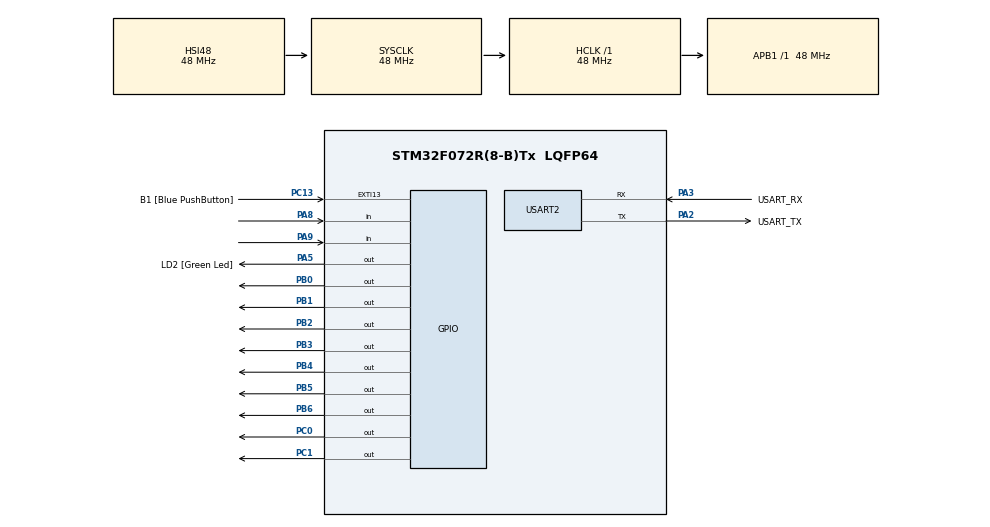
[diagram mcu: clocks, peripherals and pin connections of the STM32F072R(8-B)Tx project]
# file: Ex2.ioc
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Mcu.Family=STM32F0
Mcu.Name=STM32F072R(8-B)Tx
Mcu.Package=LQFP64
PA13.GPIO_Label=TMS
PA13.Mode=Serial_Wire
PA13.Signal=SYS_SWDIO
PA14.GPIO_Label=TCK
PA14.Mode=Serial_Wire
PA14.Signal=SYS_SWCLK
PA2.GPIO_Label=USART_TX
PA2.GPIO_Mode=GPIO_MODE_AF_PP
PA2.GPIO_PuPd=GPIO_NOPULL
PA2.GPIO_Speed=GPIO_SPEED_FREQ_LOW
PA2.Mode=Asynchronous
PA2.Signal=USART2_TX
PA3.GPIO_Label=USART_RX
PA3.GPIO_Mode=GPIO_MODE_AF_PP
PA3.GPIO_PuPd=GPIO_NOPULL
PA3.GPIO_Speed=GPIO_SPEED_FREQ_LOW
PA3.Mode=Asynchronous
PA3.Signal=USART2_RX
PA5.GPIO_Label=LD2 [Green Led]
PA5.GPIO_Mode=GPIO_MODE_OUTPUT_PP
PA5.GPIO_PuPd=GPIO_NOPULL
PA5.GPIO_Speed=GPIO_SPEED_FREQ_LOW
PA5.Signal=GPIO_Output
PA8.Signal=GPIO_Input
PA9.Signal=GPIO_Input
PB0.Signal=GPIO_Output
PB1.Signal=GPIO_Output
PB2.Signal=GPIO_Output
PB3.Signal=GPIO_Output
PB4.Signal=GPIO_Output
PB5.Signal=GPIO_Output
PB6.Signal=GPIO_Output
PC0.Signal=GPIO_Output
PC1.Signal=GPIO_Output
PC13.GPIO_Label=B1 [Blue PushButton]
PC13.GPIO_ModeDefaultEXTI=GPIO_MODE_IT_FALLING
PC13.Signal=GPXTI13
PC14-OSC32_IN.Mode=LSE-External-Oscillator
PC14-OSC32_IN.Signal=RCC_OSC32_IN
PC15-OSC32_OUT.Mode=LSE-External-Oscillator
PC15-OSC32_OUT.Signal=RCC_OSC32_OUT
PF0-OSC_IN.Mode=HSE-External-Clock-Source
PF0-OSC_IN.Signal=RCC_OSC_IN
PF1-OSC_OUT.Signal=RCC_OSC_OUT
ProjectManager.HeapSize=0x200
ProjectManager.StackSize=0x400
ProjectManager.TargetToolchain=MDK-ARM V5
RCC.AHBFreq_Value=48000000
RCC.APB1Freq_Value=48000000
RCC.APB1TimFreq_Value=48000000
RCC.FLatency-AdvancedSettings=FLASH_LATENCY_1
RCC.HCLKFreq_Value=48000000
RCC.PLLDivider=RCC_PREDIV_DIV2
RCC.PLLMUL=RCC_PLL_MUL12
RCC.PREFETCH_ENABLE-AdvancedSettings=1
RCC.SYSCLKFreq_VALUE=48000000
RCC.SYSCLKSource=RCC_SYSCLKSOURCE_HSI48
USART2.VirtualMode=VM_ASYNC
USART2.VirtualMode-Asynchronous=VM_ASYNC
board=NUCLEO-F072RB

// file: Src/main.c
/* USER CODE BEGIN Header */
/**
  ******************************************************************************
  * @file           : main.c
  * @brief          : Main program body
  ******************************************************************************
  ** This notice applies to any and all portions of this file
  * that are not between comment pairs USER CODE BEGIN and
  * USER CODE END. Other portions of this file, whether
  * inserted by the user or by software development tools
  * are owned by their respective copyright owners.
  *
  * COPYRIGHT(c) 2019 STMicroelectronics
  *
  * Redistribution and use in source and binary forms, with or without modification,
  * are permitted provided that the following conditions are met:
  *   1. Redistributions of source code must retain the above copyright notice,
  *      this list of conditions and the following disclaimer.
  *   2. Redistributions in binary form must reproduce the above copyright notice,
  *      this list of conditions and the following disclaimer in the documentation
  *      and/or other materials provided with the distribution.
  *   3. Neither the name of STMicroelectronics nor the names of its contributors
  *      may be used to endorse or promote products derived from this software
  *      without specific prior written permission.
  *
  * THIS SOFTWARE IS PROVIDED BY THE COPYRIGHT HOLDERS AND CONTRIBUTORS "AS IS"
  * AND ANY EXPRESS OR IMPLIED WARRANTIES, INCLUDING, BUT NOT LIMITED TO, THE
  * IMPLIED WARRANTIES OF MERCHANTABILITY AND FITNESS FOR A PARTICULAR PURPOSE ARE
  * DISCLAIMED. IN NO EVENT SHALL THE COPYRIGHT HOLDER OR CONTRIBUTORS BE LIABLE
  * FOR ANY DIRECT, INDIRECT, INCIDENTAL, SPECIAL, EXEMPLARY, OR CONSEQUENTIAL
  * DAMAGES (INCLUDING, BUT NOT LIMITED TO, PROCUREMENT OF SUBSTITUTE GOODS OR
  * SERVICES; LOSS OF USE, DATA, OR PROFITS; OR BUSINESS INTERRUPTION) HOWEVER
  * CAUSED AND ON ANY THEORY OF LIABILITY, WHETHER IN CONTRACT, STRICT LIABILITY,
  * OR TORT (INCLUDING NEGLIGENCE OR OTHERWISE) ARISING IN ANY WAY OUT OF THE USE
  * OF THIS SOFTWARE, EVEN IF ADVISED OF THE POSSIBILITY OF SUCH DAMAGE.
  *
  ******************************************************************************
  */
/* USER CODE END Header */

#include "main.h"

UART_HandleTypeDef huart2;

void SystemClock_Config(void);
static void MX_GPIO_Init(void);
static void MX_USART2_UART_Init(void);

/* USER CODE BEGIN 0 */

const unsigned char T[10] = {0x40,0x79,0x24,0x30,0x19,0x12,0x02,0x58,0x00,0x10};

/* USER CODE END 0 */

int main(void)
{
  /* USER CODE BEGIN 1 */

	int k = 0;
	int s1,s2;

	int estados = 0;

  /* USER CODE END 1 */

  /* MCU Configuration--------------------------------------------------------*/

  /* Reset of all peripherals, Initializes the Flash interface and the Systick. */
  HAL_Init();

  /* Configure the system clock */
  SystemClock_Config();

  /* Initialize all configured peripherals */
  MX_GPIO_Init();
  MX_USART2_UART_Init();

  /* Infinite loop */
  /* USER CODE BEGIN WHILE */
  while (1)
  {

		for(int n = 0; n < 50; n++)
		{
			GPIOB->ODR = T[k/10];
			GPIOC->ODR = 1;
			HAL_Delay(5);
			GPIOB->ODR = T[k%10];
			GPIOC->ODR = 2;
			HAL_Delay(5);
		}

		s2 = GPIOA->IDR & (1<<8);
		s1 = GPIOA->IDR & (1<<9);

		if(estados == 0)
		{
			if(s2 != 0)
			{
				estados = 1;
			}

			if(s1 != 0)
			{
				estados = 2;
			}
		}
		else if(estados == 1)
		{

			if(s2 != 0)
			{
				estados = 1;
			}
			else if(s2 == 0)
			{
				estados = 3;
			}
		}
		else if(estados == 2)
		{
			if(s2 != 0)
			{
			}

			if(s1 != 0)
			{
				estados = 2;
			}
			else if(s1 == 0)
			{
				estados = 4;
			}
		}
		else if(estados == 3)
		{
			if(s2 != 0)
			{
				estados = 0;
			}

			if(s1 != 0)
			{
				k++;
				estados = 0;
			}
		}
		else if(estados == 4)
		{
			if(s1 != 0)
			{
				estados = 0;
			}

			if(s2 != 0)
			{
				k--;
				estados = 0;
			}
		}

		if(k >= 100)
			k = 0;

		if(k < 0)
			k = 99;

    /* USER CODE END WHILE */

  }
}

void SystemClock_Config(void)
{
  RCC_OscInitTypeDef RCC_OscInitStruct = {0};
  RCC_ClkInitTypeDef RCC_ClkInitStruct = {0};
  RCC_PeriphCLKInitTypeDef PeriphClkInit = {0};

  /**Initializes the CPU, AHB and APB busses clocks
  */
  RCC_OscInitStruct.OscillatorType = RCC_OSCILLATORTYPE_HSI48;
  RCC_OscInitStruct.HSI48State = RCC_HSI48_ON;
  RCC_OscInitStruct.PLL.PLLState = RCC_PLL_NONE;
  if (HAL_RCC_OscConfig(&RCC_OscInitStruct) != HAL_OK)
  {
    Error_Handler();
  }
  /**Initializes the CPU, AHB and APB busses clocks
  */
  RCC_ClkInitStruct.ClockType = RCC_CLOCKTYPE_HCLK|RCC_CLOCKTYPE_SYSCLK
                              |RCC_CLOCKTYPE_PCLK1;
  RCC_ClkInitStruct.SYSCLKSource = RCC_SYSCLKSOURCE_HSI48;
  RCC_ClkInitStruct.AHBCLKDivider = RCC_SYSCLK_DIV1;
  RCC_ClkInitStruct.APB1CLKDivider = RCC_HCLK_DIV1;

  if (HAL_RCC_ClockConfig(&RCC_ClkInitStruct, FLASH_LATENCY_1) != HAL_OK)
  {
    Error_Handler();
  }
  PeriphClkInit.PeriphClockSelection = RCC_PERIPHCLK_USART2;
  PeriphClkInit.Usart2ClockSelection = RCC_USART2CLKSOURCE_PCLK1;
  if (HAL_RCCEx_PeriphCLKConfig(&PeriphClkInit) != HAL_OK)
  {
    Error_Handler();
  }
}

static void MX_USART2_UART_Init(void)
{

  huart2.Instance = USART2;
  huart2.Init.BaudRate = 38400;
  huart2.Init.WordLength = UART_WORDLENGTH_8B;
  huart2.Init.StopBits = UART_STOPBITS_1;
  huart2.Init.Parity = UART_PARITY_NONE;
  huart2.Init.Mode = UART_MODE_TX_RX;
  huart2.Init.HwFlowCtl = UART_HWCONTROL_NONE;
  huart2.Init.OverSampling = UART_OVERSAMPLING_16;
  huart2.Init.OneBitSampling = UART_ONE_BIT_SAMPLE_DISABLE;
  huart2.AdvancedInit.AdvFeatureInit = UART_ADVFEATURE_NO_INIT;
  if (HAL_UART_Init(&huart2) != HAL_OK)
  {
    Error_Handler();
  }

}

static void MX_GPIO_Init(void)
{
  GPIO_InitTypeDef GPIO_InitStruct = {0};

  /* GPIO Ports Clock Enable */
  __HAL_RCC_GPIOC_CLK_ENABLE();
  __HAL_RCC_GPIOF_CLK_ENABLE();
  __HAL_RCC_GPIOA_CLK_ENABLE();
  __HAL_RCC_GPIOB_CLK_ENABLE();

  /*Configure GPIO pin Output Level */
  HAL_GPIO_WritePin(GPIOC, GPIO_PIN_0|GPIO_PIN_1, GPIO_PIN_RESET);

  /*Configure GPIO pin Output Level */
  HAL_GPIO_WritePin(LD2_GPIO_Port, LD2_Pin, GPIO_PIN_RESET);

  /*Configure GPIO pin Output Level */
  HAL_GPIO_WritePin(GPIOB, GPIO_PIN_0|GPIO_PIN_1|GPIO_PIN_2|GPIO_PIN_3
                          |GPIO_PIN_4|GPIO_PIN_5|GPIO_PIN_6, GPIO_PIN_RESET);

  /*Configure GPIO pin : B1_Pin */
  GPIO_InitStruct.Pin = B1_Pin;
  GPIO_InitStruct.Mode = GPIO_MODE_IT_FALLING;
  GPIO_InitStruct.Pull = GPIO_NOPULL;
  HAL_GPIO_Init(B1_GPIO_Port, &GPIO_InitStruct);

  /*Configure GPIO pins : PC0 PC1 */
  GPIO_InitStruct.Pin = GPIO_PIN_0|GPIO_PIN_1;
  GPIO_InitStruct.Mode = GPIO_MODE_OUTPUT_PP;
  GPIO_InitStruct.Pull = GPIO_NOPULL;
  GPIO_InitStruct.Speed = GPIO_SPEED_FREQ_LOW;
  HAL_GPIO_Init(GPIOC, &GPIO_InitStruct);

  /*Configure GPIO pin : LD2_Pin */
  GPIO_InitStruct.Pin = LD2_Pin;
  GPIO_InitStruct.Mode = GPIO_MODE_OUTPUT_PP;
  GPIO_InitStruct.Pull = GPIO_NOPULL;
  GPIO_InitStruct.Speed = GPIO_SPEED_FREQ_LOW;
  HAL_GPIO_Init(LD2_GPIO_Port, &GPIO_InitStruct);

  /*Configure GPIO pins : PB0 PB1 PB2 PB3
                           PB4 PB5 PB6 */
  GPIO_InitStruct.Pin = GPIO_PIN_0|GPIO_PIN_1|GPIO_PIN_2|GPIO_PIN_3
                          |GPIO_PIN_4|GPIO_PIN_5|GPIO_PIN_6;
  GPIO_InitStruct.Mode = GPIO_MODE_OUTPUT_PP;
  GPIO_InitStruct.Pull = GPIO_NOPULL;
  GPIO_InitStruct.Speed = GPIO_SPEED_FREQ_LOW;
  HAL_GPIO_Init(GPIOB, &GPIO_InitStruct);

  /*Configure GPIO pins : PA8 PA9 */
  GPIO_InitStruct.Pin = GPIO_PIN_8|GPIO_PIN_9;
  GPIO_InitStruct.Mode = GPIO_MODE_INPUT;
  GPIO_InitStruct.Pull = GPIO_NOPULL;
  HAL_GPIO_Init(GPIOA, &GPIO_InitStruct);

}

void Error_Handler(void)
{
}

/************************ (C) COPYRIGHT STMicroelectronics *****END OF FILE****/
